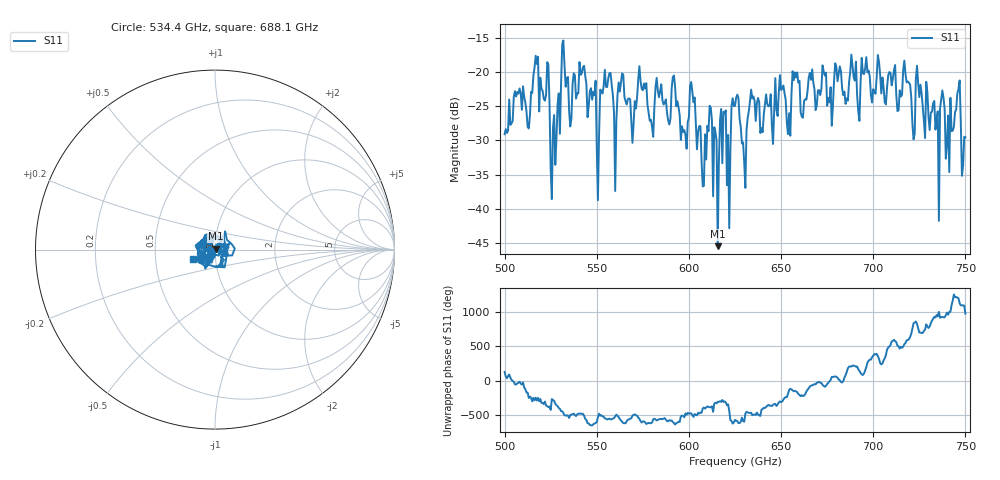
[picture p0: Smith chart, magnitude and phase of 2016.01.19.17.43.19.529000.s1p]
!Created with skrf (http://scikit-rf.org).
# GHz S RI R 50.0
!freq ReS11 ImS11
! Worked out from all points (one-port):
!   401 points, 500 GHz to 750 GHz, reference 50 ohm
!   lowest |S11| = -45.5 dB at 615.6 GHz (marker M1), VSWR 1.01, Z = 50.3 + j0.442 ohm
!   |S11| at or under -10 dB: start of sweep to end of sweep
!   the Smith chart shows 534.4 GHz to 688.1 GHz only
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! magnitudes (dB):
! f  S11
! 500 GHz  -29.1
! 513.1 GHz  -28.2
! 516.9 GHz  -17.6
! 523.1 GHz  -18.5
! 526.2 GHz  -28.1
! 531.2 GHz  -16.0
! 541.9 GHz  -20.2
! 551.2 GHz  -29.1
! 553.1 GHz  -23.1
! 560 GHz  -37.4
! 562.5 GHz  -22.9
! 593.8 GHz  -24.2
! 598.1 GHz  -29.2
! 601.9 GHz  -22.9
! 608.1 GHz  -36.6
! 611.2 GHz  -24.9
! 615.6 GHz  -45.5
! 618.8 GHz  -25.8
! 621.9 GHz  -42.8
! 625 GHz  -24.9
! 630 GHz  -33.2
! 634.4 GHz  -23.9
! 656.2 GHz  -19.9
! 687.5 GHz  -20.0
! 718.8 GHz  -21.4
! 735 GHz  -25.7
! 745.6 GHz  -23.1
! 750 GHz  -29.5
